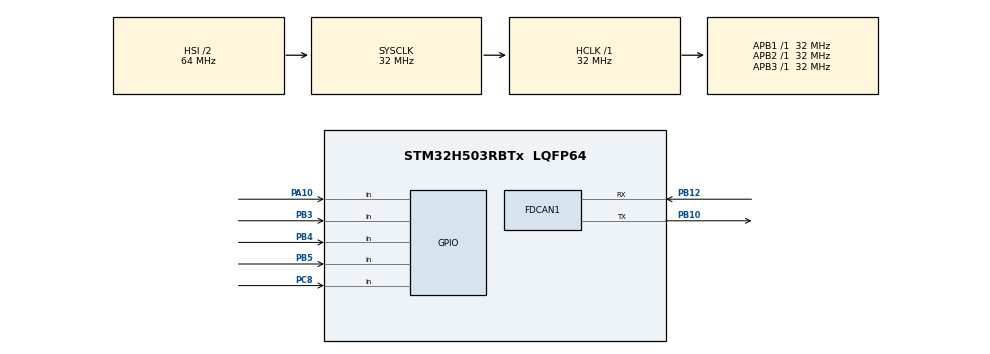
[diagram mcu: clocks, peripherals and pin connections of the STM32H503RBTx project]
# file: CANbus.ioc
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BOOTPATH.BootPathName=LEGACY
BOOTPATH.UserSelectedBootPath=LEGACY
FDCAN1.CalculateBaudRateNominal=500000
FDCAN1.CalculateTimeBitNominal=2000
FDCAN1.CalculateTimeQuantumNominal=200.0
FDCAN1.Mode=FDCAN_MODE_EXTERNAL_LOOPBACK
FDCAN1.NominalPrescaler=10
FDCAN1.NominalTimeSeg1=8
FDCAN1.NominalTimeSeg2=1
Mcu.Family=STM32H5
Mcu.Name=STM32H503RBTx
Mcu.Package=LQFP64
NVIC.FDCAN1_IT0_IRQn=true\:0\:0\:false\:false\:true\:true\:true\:true
NVIC.PriorityGroup=NVIC_PRIORITYGROUP_4
PA10.Signal=GPIO_Input
PB10.Mode=FDCAN_Activate
PB10.Signal=FDCAN1_TX
PB12.Mode=FDCAN_Activate
PB12.Signal=FDCAN1_RX
PB3(JTDO/TRACESWO).GPIO_PuPd=GPIO_NOPULL
PB3(JTDO/TRACESWO).Signal=GPIO_Input
PB4(NJTRST).GPIO_PuPd=GPIO_NOPULL
PB4(NJTRST).Signal=GPIO_Input
PB5.GPIO_PuPd=GPIO_NOPULL
PB5.Signal=GPIO_Input
PC8.Signal=GPIO_Input
ProjectManager.HeapSize=0x200
ProjectManager.StackSize=0x400
ProjectManager.TargetToolchain=STM32CubeIDE
RCC.ADCFreq_Value=32000000
RCC.AHBFreq_Value=32000000
RCC.APB1Freq_Value=32000000
RCC.APB1TimFreq_Value=32000000
RCC.APB2Freq_Value=32000000
RCC.APB2TimFreq_Value=32000000
RCC.APB3Freq_Value=32000000
RCC.CSI_VALUE=4000000
RCC.CortexFreq_Value=32000000
RCC.EPOD_VALUE=4000000
RCC.FDCANClockSelection=RCC_FDCANCLKSOURCE_PLL1Q
RCC.HCLKFreq_Value=32000000
RCC.HSE_VALUE=25000000
RCC.HSI48_VALUE=48000000
RCC.HSI_VALUE=64000000
RCC.LSE_VALUE=32768
RCC.LSIRC_VALUE=32000
RCC.PLL1Q=4
RCC.PLLFRACN=0
RCC.PLLN=50
RCC.SYSCLKFreq_VALUE=32000000
RCC.USBFreq_Value=48000000
RCC.VCOOutputFreq_Value=200000000
VP_BOOTPATH_VS_BOOTPATH.Mode=BP_Activate
VP_CORTEX_M33_NS_VS_Hclk.Mode=Hclk_Mode
VP_CRC_VS_CRC.Mode=CRC_Activate
VP_ICACHE_VS_ICACHE.Mode=DirectMappedCache
VP_MEMORYMAP_VS_MEMORYMAP.Mode=CurAppReg
VP_PWR_VS_DBSignals.Mode=DisableDeadBatterySignals
VP_PWR_VS_LPOM.Mode=PowerOptimisation
VP_PWR_VS_SECSignals.Mode=Security/Privilege
board=custom

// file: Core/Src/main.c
/* USER CODE BEGIN Header */
/**
  ******************************************************************************
  * @file           : main.c
  * @brief          : Main program body
  ******************************************************************************
  * @attention
  *
  * Copyright (c) 2025 STMicroelectronics.
  * All rights reserved.
  *
  * This software is licensed under terms that can be found in the LICENSE file
  * in the root directory of this software component.
  * If no LICENSE file comes with this software, it is provided AS-IS.
  *
  ******************************************************************************
  */
/* USER CODE END Header */
#include "main.h"
#include "stdbool.h"

CRC_HandleTypeDef hcrc;

FDCAN_HandleTypeDef hfdcan1;

/* USER CODE BEGIN PV */
FDCAN_TxHeaderTypeDef   TxHeader;
FDCAN_RxHeaderTypeDef   RxHeader;
uint8_t               TxData[8];
uint8_t               RxData[8];
int indx = 0;
/* USER CODE END PV */

void SystemClock_Config(void);
static void MX_GPIO_Init(void);
static void MX_FDCAN1_Init(void);
static void MX_ICACHE_Init(void);
static void MX_CRC_Init(void);

/* USER CODE BEGIN 0 */
void HAL_FDCAN_RxFifo0Callback(FDCAN_HandleTypeDef *hfdcan, uint32_t RxFifo0ITs)
{
	if((RxFifo0ITs & FDCAN_IT_RX_FIFO0_NEW_MESSAGE) != RESET)
	{
		/* Retreive Rx messages from RX FIFO0 */
		if (HAL_FDCAN_GetRxMessage(hfdcan, FDCAN_RX_FIFO0, &RxHeader, RxData) != HAL_OK)
		{
			/* Reception Error */
			Error_Handler();
		}
		if (HAL_FDCAN_ActivateNotification(hfdcan, FDCAN_IT_RX_FIFO0_NEW_MESSAGE, 0) != HAL_OK)
		{
			/* Notification Error */
			Error_Handler();
		}
	}
}

HAL_StatusTypeDef CAN_Send_Message(uint32_t identifier, uint8_t *data, uint8_t data_length, bool is_extended, bool is_remote)
{
    TxHeader.Identifier = identifier;
    TxHeader.IdType = is_extended ? FDCAN_EXTENDED_ID : FDCAN_STANDARD_ID;
    TxHeader.TxFrameType = is_remote ? FDCAN_REMOTE_FRAME : FDCAN_DATA_FRAME;
    TxHeader.DataLength = data_length; // handle up to 8 bytes
    TxHeader.ErrorStateIndicator = FDCAN_ESI_ACTIVE;
    TxHeader.BitRateSwitch = FDCAN_BRS_OFF;
    TxHeader.FDFormat = FDCAN_FD_CAN;
    TxHeader.TxEventFifoControl = FDCAN_NO_TX_EVENTS;
    TxHeader.MessageMarker = 0;

    return HAL_FDCAN_AddMessageToTxFifoQ(&hfdcan1, &TxHeader, is_remote ? NULL : data);
}

/* USER CODE END 0 */

int main(void)
{

  /* MCU Configuration--------------------------------------------------------*/

  /* Reset of all peripherals, Initializes the Flash interface and the Systick. */
  HAL_Init();

  /* Configure the system clock */
  SystemClock_Config();

  /* Initialize all configured peripherals */
  MX_GPIO_Init();
  MX_FDCAN1_Init();
  MX_ICACHE_Init();
  MX_CRC_Init();
  /* USER CODE BEGIN 2 */
  if(HAL_FDCAN_Start(&hfdcan1)!= HAL_OK)
  {
	Error_Handler();
  }
  if (HAL_FDCAN_ActivateNotification(&hfdcan1, FDCAN_IT_RX_FIFO0_NEW_MESSAGE, 0) != HAL_OK)
  {
	/* Notification Error */
	Error_Handler();
  }

  /* USER CODE END 2 */

  /* Infinite loop */
  /* USER CODE BEGIN WHILE */
  while (1)
  {
	if (HAL_GPIO_ReadPin(GPIOC, GPIO_PIN_8) == 0)
	{
		for (int i = 0; i < 3; i++) {
			// Send standard data frame
			uint8_t data1[4] = {0x01, 0x02, 0x03, 0x04};
			CAN_Send_Message(0x123, data1, 4, false, false);

			CAN_Send_Message(0x123, data1, 4, false, false);

			// Send extended remote frame
			CAN_Send_Message(0x18FF50E5, NULL, 0, true, true);

			// Send standard remote frame
			CAN_Send_Message(0x456, NULL, 0, false, true);
		}

		HAL_Delay(200); // debounce
	}

	if (HAL_GPIO_ReadPin(GPIOB, GPIO_PIN_3) == 0)
	{
		// Standard CAN Remote Frame
		TxHeader.Identifier = 0x200;
		TxHeader.IdType = FDCAN_STANDARD_ID;
		TxHeader.TxFrameType = FDCAN_REMOTE_FRAME;
		TxHeader.DataLength = FDCAN_DLC_BYTES_0;
		HAL_FDCAN_AddMessageToTxFifoQ(&hfdcan1, &TxHeader, NULL);
		HAL_Delay(200); // debounce
	}

	if (HAL_GPIO_ReadPin(GPIOB, GPIO_PIN_4) == 0)
	{
		// Extended CAN Data Frame
		TxHeader.Identifier = 0x18FF50E5;
		TxHeader.IdType = FDCAN_EXTENDED_ID;
		TxHeader.TxFrameType = FDCAN_DATA_FRAME;
		TxHeader.DataLength = FDCAN_DLC_BYTES_8;
		uint8_t extData[] = {0x01, 0x02, 0x03, 0x04, 0x05, 0x06, 0x07, 0x08};
		HAL_FDCAN_AddMessageToTxFifoQ(&hfdcan1, &TxHeader, extData);
		HAL_Delay(200); // debounce
	}

	if (HAL_GPIO_ReadPin(GPIOB, GPIO_PIN_5) == 0)
	{
		// Extended CAN Remote Frame
		TxHeader.Identifier = 0x18FFFFEE;
		TxHeader.IdType = FDCAN_EXTENDED_ID;
		TxHeader.TxFrameType = FDCAN_REMOTE_FRAME;
		TxHeader.DataLength = FDCAN_DLC_BYTES_0;
		HAL_FDCAN_AddMessageToTxFifoQ(&hfdcan1, &TxHeader, NULL);
		HAL_Delay(200); // debounce
	}
    /* USER CODE END WHILE */

  }
}

void SystemClock_Config(void)
{
  RCC_OscInitTypeDef RCC_OscInitStruct = {0};
  RCC_ClkInitTypeDef RCC_ClkInitStruct = {0};

  /** Configure the main internal regulator output voltage
  */
  __HAL_PWR_VOLTAGESCALING_CONFIG(PWR_REGULATOR_VOLTAGE_SCALE3);

  while(!__HAL_PWR_GET_FLAG(PWR_FLAG_VOSRDY)) {}

  /** Initializes the RCC Oscillators according to the specified parameters
  * in the RCC_OscInitTypeDef structure.
  */
  RCC_OscInitStruct.OscillatorType = RCC_OSCILLATORTYPE_HSI|RCC_OSCILLATORTYPE_CSI;
  RCC_OscInitStruct.HSIState = RCC_HSI_ON;
  RCC_OscInitStruct.HSIDiv = RCC_HSI_DIV2;
  RCC_OscInitStruct.HSICalibrationValue = RCC_HSICALIBRATION_DEFAULT;
  RCC_OscInitStruct.CSIState = RCC_CSI_ON;
  RCC_OscInitStruct.CSICalibrationValue = RCC_CSICALIBRATION_DEFAULT;
  RCC_OscInitStruct.PLL.PLLState = RCC_PLL_ON;
  RCC_OscInitStruct.PLL.PLLSource = RCC_PLL1_SOURCE_CSI;
  RCC_OscInitStruct.PLL.PLLM = 1;
  RCC_OscInitStruct.PLL.PLLN = 50;
  RCC_OscInitStruct.PLL.PLLP = 2;
  RCC_OscInitStruct.PLL.PLLQ = 4;
  RCC_OscInitStruct.PLL.PLLR = 2;
  RCC_OscInitStruct.PLL.PLLRGE = RCC_PLL1_VCIRANGE_2;
  RCC_OscInitStruct.PLL.PLLVCOSEL = RCC_PLL1_VCORANGE_WIDE;
  RCC_OscInitStruct.PLL.PLLFRACN = 0;
  if (HAL_RCC_OscConfig(&RCC_OscInitStruct) != HAL_OK)
  {
    Error_Handler();
  }

  /** Initializes the CPU, AHB and APB buses clocks
  */
  RCC_ClkInitStruct.ClockType = RCC_CLOCKTYPE_HCLK|RCC_CLOCKTYPE_SYSCLK
                              |RCC_CLOCKTYPE_PCLK1|RCC_CLOCKTYPE_PCLK2
                              |RCC_CLOCKTYPE_PCLK3;
  RCC_ClkInitStruct.SYSCLKSource = RCC_SYSCLKSOURCE_HSI;
  RCC_ClkInitStruct.AHBCLKDivider = RCC_SYSCLK_DIV1;
  RCC_ClkInitStruct.APB1CLKDivider = RCC_HCLK_DIV1;
  RCC_ClkInitStruct.APB2CLKDivider = RCC_HCLK_DIV1;
  RCC_ClkInitStruct.APB3CLKDivider = RCC_HCLK_DIV1;

  if (HAL_RCC_ClockConfig(&RCC_ClkInitStruct, FLASH_LATENCY_1) != HAL_OK)
  {
    Error_Handler();
  }
}

static void MX_CRC_Init(void)
{

  hcrc.Instance = CRC;
  hcrc.Init.DefaultPolynomialUse = DEFAULT_POLYNOMIAL_ENABLE;
  hcrc.Init.DefaultInitValueUse = DEFAULT_INIT_VALUE_ENABLE;
  hcrc.Init.InputDataInversionMode = CRC_INPUTDATA_INVERSION_NONE;
  hcrc.Init.OutputDataInversionMode = CRC_OUTPUTDATA_INVERSION_DISABLE;
  hcrc.InputDataFormat = CRC_INPUTDATA_FORMAT_BYTES;
  if (HAL_CRC_Init(&hcrc) != HAL_OK)
  {
    Error_Handler();
  }

}

static void MX_FDCAN1_Init(void)
{

  hfdcan1.Instance = FDCAN1;
  hfdcan1.Init.ClockDivider = FDCAN_CLOCK_DIV1;
  hfdcan1.Init.FrameFormat = FDCAN_FRAME_CLASSIC;
  hfdcan1.Init.Mode = FDCAN_MODE_EXTERNAL_LOOPBACK;
  hfdcan1.Init.AutoRetransmission = DISABLE;
  hfdcan1.Init.TransmitPause = DISABLE;
  hfdcan1.Init.ProtocolException = DISABLE;
  hfdcan1.Init.NominalPrescaler = 10;
  hfdcan1.Init.NominalSyncJumpWidth = 1;
  hfdcan1.Init.NominalTimeSeg1 = 8;
  hfdcan1.Init.NominalTimeSeg2 = 1;
  hfdcan1.Init.DataPrescaler = 1;
  hfdcan1.Init.DataSyncJumpWidth = 1;
  hfdcan1.Init.DataTimeSeg1 = 1;
  hfdcan1.Init.DataTimeSeg2 = 1;
  hfdcan1.Init.StdFiltersNbr = 0;
  hfdcan1.Init.ExtFiltersNbr = 0;
  hfdcan1.Init.TxFifoQueueMode = FDCAN_TX_FIFO_OPERATION;
  if (HAL_FDCAN_Init(&hfdcan1) != HAL_OK)
  {
    Error_Handler();
  }

}

static void MX_ICACHE_Init(void)
{

  /** Enable instruction cache in 1-way (direct mapped cache)
  */
  if (HAL_ICACHE_ConfigAssociativityMode(ICACHE_1WAY) != HAL_OK)
  {
    Error_Handler();
  }
  if (HAL_ICACHE_Enable() != HAL_OK)
  {
    Error_Handler();
  }

}

static void MX_GPIO_Init(void)
{
  GPIO_InitTypeDef GPIO_InitStruct = {0};

  /* GPIO Ports Clock Enable */
  __HAL_RCC_GPIOB_CLK_ENABLE();
  __HAL_RCC_GPIOC_CLK_ENABLE();
  __HAL_RCC_GPIOA_CLK_ENABLE();

  /*Configure GPIO pin : PC8 */
  GPIO_InitStruct.Pin = GPIO_PIN_8;
  GPIO_InitStruct.Mode = GPIO_MODE_INPUT;
  GPIO_InitStruct.Pull = GPIO_NOPULL;
  HAL_GPIO_Init(GPIOC, &GPIO_InitStruct);

  /*Configure GPIO pin : PA10 */
  GPIO_InitStruct.Pin = GPIO_PIN_10;
  GPIO_InitStruct.Mode = GPIO_MODE_INPUT;
  GPIO_InitStruct.Pull = GPIO_NOPULL;
  HAL_GPIO_Init(GPIOA, &GPIO_InitStruct);

  /*Configure GPIO pins : PB3 PB4 PB5 */
  GPIO_InitStruct.Pin = GPIO_PIN_3|GPIO_PIN_4|GPIO_PIN_5;
  GPIO_InitStruct.Mode = GPIO_MODE_INPUT;
  GPIO_InitStruct.Pull = GPIO_NOPULL;
  HAL_GPIO_Init(GPIOB, &GPIO_InitStruct);

}

void Error_Handler(void)
{
  __disable_irq();
  while (1)
  {
  }
}
